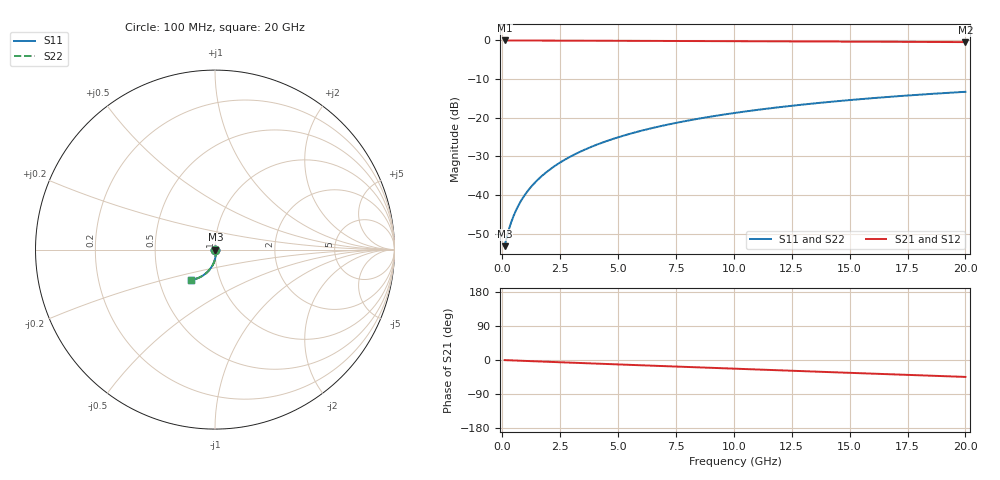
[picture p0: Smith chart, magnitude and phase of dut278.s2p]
! Touchstone file exported from HFSS 2026.1.0
!  File:  C:/ffzhzh/LocalFiles/Ansys_Project_Files/temp_train_TMRDL_278_1782985288_45328.aedt
!  Generated:  05:42:44 PM Jul  2, 2026
!  Design:  TMRDL
!  Project:  temp_train_TMRDL_278_1782985288_45328
! Variables:
!  h_bsmrdl = 2um
!  h_ox = 20um
!  h_rdl = 5um
!  h_sub = 80um
!  h_tmrdl = 5.96um
!  h_tsv = 80um
!  h_via = 3um
!  l_bsmrdl = 300um
!  l_sub = 1175.62um
!  l_tmrdl = 775.62um
!  m_sub = 200um
!  pitch = 29.77um
!  r_tsv = 6um
!  s_tmrdl = 10um
!  w_bsmrdl = 18um
!  w_sub = 500um
!  w_tmrdl = 26.83um
!  x_tsv_center1 = 789.035um
!  x_tsv_center2 = 1107.035um
!  x_tsv_center3 = 1909.485um
!  x_tsv_center4 = 2227.485um
!  x_tsv_center5 = 3029.935um
!  x_tsv_center6 = 3347.935um
# GHz S MA R 50.000000
! Terminal data exported
! Port[1] = TM_RDL1_1_T1
! Port[2] = TM_RDL1_1_T2
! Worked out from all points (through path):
!   200 points, 100 MHz to 20 GHz, reference 50 ohm
!   highest |S21| = -0.02 dB at 100 MHz (marker M1); lowest = -0.4 dB at 20 GHz (marker M2)
!   group delay of S21, straight-line fit = 6.17 ps
!   lowest |S11| = -53.3 dB at 100 MHz (marker M3), VSWR 1.00, Z = 50.2 - j0.0248 ohm
!   |S11| at or under -10 dB: start of sweep to end of sweep
!   |S22| runs from -53.3 to -13.3 dB; largest |S21 - S12| = 3.9e-14
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0.1  0.002173 -6.5  0.9978 -0.3  0.9978 -0.3  0.002173 -6.5
! Gamma 0 0 0 0
! Port Impedance 50 0 50 0
0.2  0.002889 -20.2  0.9973 -0.5  0.9973 -0.5  0.002889 -20.2
0.3  0.003703 -33.1  0.9969 -0.8  0.9969 -0.8  0.003703 -33.1
0.4  0.004566 -42.9  0.9966 -1.0  0.9966 -1.0  0.004567 -42.9
0.5  0.005465 -50.2  0.9964 -1.2  0.9964 -1.2  0.005466 -50.2
0.6  0.006391 -55.7  0.9963 -1.5  0.9963 -1.5  0.006392 -55.7
0.8  0.008302 -63.2  0.996 -2.0  0.996 -2.0  0.008303 -63.2
1  0.01027 -68.0  0.9957 -2.4  0.9957 -2.4  0.01027 -68.0
1.2  0.01229 -71.3  0.9954 -2.9  0.9954 -2.9  0.01229 -71.3
1.7  0.01751 -76.5  0.9946 -4.1  0.9946 -4.1  0.01751 -76.5
2.2  0.02294 -79.7  0.9936 -5.3  0.9936 -5.3  0.02295 -79.7
2.8  0.02971 -82.6  0.9923 -6.7  0.9923 -6.7  0.02972 -82.6
3.5  0.03784 -85.4  0.9908 -8.3  0.9908 -8.3  0.03785 -85.4
4.2  0.04613 -87.9  0.9893 -9.9  0.9893 -9.9  0.04614 -87.9
5  0.0557 -90.6  0.9877 -11.7  0.9877 -11.7  0.05571 -90.6
5.9  0.06648 -93.5  0.9858 -13.7  0.9858 -13.7  0.0665 -93.4
6.8  0.07723 -96.1  0.9839 -15.7  0.9839 -15.7  0.07726 -96.1
8.3  0.09496 -100.4  0.9807 -19.1  0.9807 -19.1  0.095 -100.3
10.1  0.1158 -105.2  0.9766 -23.1  0.9766 -23.1  0.1158 -105.1
13.4  0.1522 -113.4  0.9683 -30.4  0.9683 -30.4  0.1523 -113.3
16.7  0.1858 -121.2  0.9593 -37.6  0.9593 -37.6  0.186 -121.0
20  0.2161 -128.7  0.9499 -44.6  0.9499 -44.6  0.2163 -128.5
